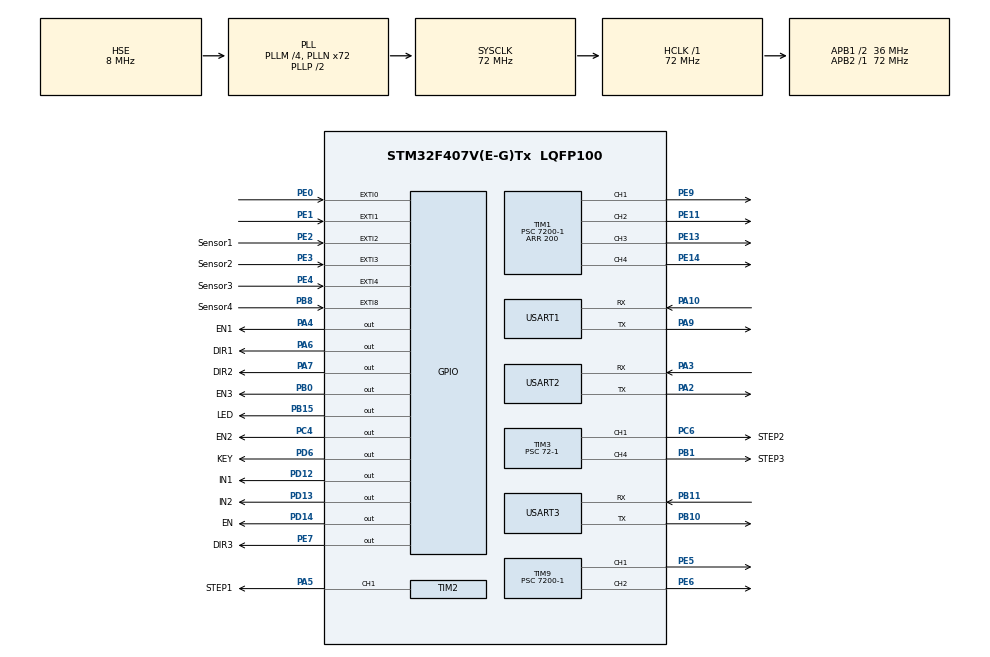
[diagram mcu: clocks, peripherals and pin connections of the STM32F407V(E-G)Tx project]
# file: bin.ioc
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Mcu.Family=STM32F4
Mcu.Name=STM32F407V(E-G)Tx
Mcu.Package=LQFP100
NVIC.EXTI0_IRQn=true\:0\:0\:true\:false\:true\:true\:true
NVIC.EXTI1_IRQn=true\:0\:0\:true\:false\:true\:true\:true
NVIC.EXTI2_IRQn=true\:2\:0\:true\:false\:true\:true\:true
NVIC.EXTI3_IRQn=true\:2\:0\:true\:false\:true\:true\:true
NVIC.EXTI4_IRQn=true\:2\:0\:true\:false\:true\:true\:true
NVIC.EXTI9_5_IRQn=true\:2\:0\:true\:false\:true\:true\:true
NVIC.PriorityGroup=NVIC_PRIORITYGROUP_4
NVIC.TIM1_BRK_TIM9_IRQn=true\:0\:0\:false\:false\:true\:true\:true
NVIC.TIM1_UP_TIM10_IRQn=true\:0\:0\:false\:false\:true\:true\:true
NVIC.USART1_IRQn=true\:0\:0\:true\:false\:true\:true\:true
NVIC.USART2_IRQn=true\:1\:0\:true\:false\:true\:true\:true
NVIC.USART3_IRQn=true\:0\:0\:false\:false\:true\:true\:true
PA10.Mode=Asynchronous
PA10.Signal=USART1_RX
PA13.Mode=Serial_Wire
PA13.Signal=SYS_JTMS-SWDIO
PA14.Mode=Serial_Wire
PA14.Signal=SYS_JTCK-SWCLK
PA2.Mode=Asynchronous
PA2.Signal=USART2_TX
PA3.Mode=Asynchronous
PA3.Signal=USART2_RX
PA4.GPIO_Label=EN1
PA4.GPIO_ModeDefaultOutputPP=GPIO_MODE_OUTPUT_PP
PA4.GPIO_Speed=GPIO_SPEED_FREQ_HIGH
PA4.PinState=GPIO_PIN_RESET
PA4.Signal=GPIO_Output
PA5.GPIO_Label=STEP1
PA5.GPIO_Speed=GPIO_SPEED_FREQ_HIGH
PA5.Signal=S_TIM2_CH1_ETR
PA6.GPIO_Label=DIR1
PA6.GPIO_Speed=GPIO_SPEED_FREQ_HIGH
PA6.Signal=GPIO_Output
PA7.GPIO_Label=DIR2
PA7.GPIO_Speed=GPIO_SPEED_FREQ_HIGH
PA7.Signal=GPIO_Output
PA9.Mode=Asynchronous
PA9.Signal=USART1_TX
PB0.GPIO_Label=EN3
PB0.GPIO_Speed=GPIO_SPEED_FREQ_HIGH
PB0.Signal=GPIO_Output
PB1.GPIO_Label=STEP3
PB1.GPIO_Speed=GPIO_SPEED_FREQ_HIGH
PB1.Signal=S_TIM3_CH4
PB10.Mode=Asynchronous
PB10.Signal=USART3_TX
PB11.Mode=Asynchronous
PB11.Signal=USART3_RX
PB15.GPIO_Label=LED
PB15.GPIO_Speed=GPIO_SPEED_FREQ_HIGH
PB15.PinState=GPIO_PIN_SET
PB15.Signal=GPIO_Output
PB8.GPIO_Label=Sensor4
PB8.GPIO_PuPd=GPIO_PULLDOWN
PB8.Signal=GPXTI8
PC14-OSC32_IN.Mode=LSE-External-Oscillator
PC14-OSC32_IN.Signal=RCC_OSC32_IN
PC15-OSC32_OUT.Mode=LSE-External-Oscillator
PC15-OSC32_OUT.Signal=RCC_OSC32_OUT
PC4.GPIO_Label=EN2
PC4.GPIO_Speed=GPIO_SPEED_FREQ_HIGH
PC4.Signal=GPIO_Output
PC6.GPIO_Label=STEP2
PC6.GPIO_Speed=GPIO_SPEED_FREQ_HIGH
PC6.Signal=S_TIM3_CH1
PD12.GPIO_Label=IN1
PD12.GPIO_Speed=GPIO_SPEED_FREQ_HIGH
PD12.PinState=GPIO_PIN_RESET
PD12.Signal=GPIO_Output
PD13.GPIO_Label=IN2
PD13.GPIO_Speed=GPIO_SPEED_FREQ_HIGH
PD13.PinState=GPIO_PIN_RESET
PD13.Signal=GPIO_Output
PD14.GPIO_Label=EN
PD14.GPIO_Speed=GPIO_SPEED_FREQ_VERY_HIGH
PD14.PinState=GPIO_PIN_RESET
PD14.Signal=GPIO_Output
PD6.GPIO_Label=KEY
PD6.PinState=GPIO_PIN_SET
PD6.Signal=GPIO_Output
PE0.GPIO_ModeDefaultEXTI=GPIO_MODE_IT_FALLING
PE0.GPIO_PuPd=GPIO_PULLDOWN
PE0.Signal=GPXTI0
PE1.GPIO_ModeDefaultEXTI=GPIO_MODE_IT_FALLING
PE1.GPIO_PuPd=GPIO_PULLDOWN
PE1.Signal=GPXTI1
PE11.Signal=S_TIM1_CH2
PE13.Signal=S_TIM1_CH3
PE14.Signal=S_TIM1_CH4
PE2.GPIO_Label=Sensor1
PE2.GPIO_PuPd=GPIO_PULLDOWN
PE2.Signal=GPXTI2
PE3.GPIO_Label=Sensor2
PE3.GPIO_PuPd=GPIO_PULLDOWN
PE3.Signal=GPXTI3
PE4.GPIO_Label=Sensor3
PE4.GPIO_PuPd=GPIO_PULLDOWN
PE4.Signal=GPXTI4
PE5.Signal=S_TIM9_CH1
PE6.Signal=S_TIM9_CH2
PE7.GPIO_Label=DIR3
PE7.GPIO_Speed=GPIO_SPEED_FREQ_HIGH
PE7.Signal=GPIO_Output
PE9.Signal=S_TIM1_CH1
PH0-OSC_IN.Mode=HSE-External-Oscillator
PH0-OSC_IN.Signal=RCC_OSC_IN
PH1-OSC_OUT.Mode=HSE-External-Oscillator
PH1-OSC_OUT.Signal=RCC_OSC_OUT
ProjectManager.HeapSize=0x200
ProjectManager.StackSize=0x400
ProjectManager.TargetToolchain=STM32CubeIDE
RCC.48MHZClocksFreq_Value=36000000
RCC.AHBFreq_Value=72000000
RCC.APB1CLKDivider=RCC_HCLK_DIV2
RCC.APB1Freq_Value=36000000
RCC.APB1TimFreq_Value=72000000
RCC.APB2Freq_Value=72000000
RCC.APB2TimFreq_Value=72000000
RCC.CortexFreq_Value=72000000
RCC.HCLKFreq_Value=72000000
RCC.HSE_VALUE=8000000
RCC.HSI_VALUE=16000000
RCC.PLLM=4
RCC.PLLN=72
RCC.PLLSourceVirtual=RCC_PLLSOURCE_HSE
RCC.SYSCLKFreq_VALUE=72000000
RCC.SYSCLKSource=RCC_SYSCLKSOURCE_PLLCLK
RCC.VCOOutputFreq_Value=144000000
SH.S_TIM1_CH1.0=TIM1_CH1,PWM Generation1 CH1
SH.S_TIM1_CH2.0=TIM1_CH2,PWM Generation2 CH2
SH.S_TIM1_CH3.0=TIM1_CH3,PWM Generation3 CH3
SH.S_TIM1_CH4.0=TIM1_CH4,PWM Generation4 CH4
SH.S_TIM2_CH1_ETR.0=TIM2_CH1,PWM Generation1 CH1
SH.S_TIM3_CH1.0=TIM3_CH1,PWM Generation1 CH1
SH.S_TIM3_CH4.0=TIM3_CH4,PWM Generation4 CH4
SH.S_TIM9_CH1.0=TIM9_CH1,PWM Generation1 CH1
SH.S_TIM9_CH2.0=TIM9_CH2,PWM Generation2 CH2
TIM1.Channel-PWM\ Generation1\ CH1=TIM_CHANNEL_1
TIM1.Channel-PWM\ Generation2\ CH2=TIM_CHANNEL_2
TIM1.Channel-PWM\ Generation3\ CH3=TIM_CHANNEL_3
TIM1.Channel-PWM\ Generation4\ CH4=TIM_CHANNEL_4
TIM1.Period=200
TIM1.Prescaler=7200-1
TIM2.Channel-PWM\ Generation1\ CH1=TIM_CHANNEL_1
TIM2.Period=180-1
TIM2.Prescaler=72-1
TIM3.Channel-PWM\ Generation1\ CH1=TIM_CHANNEL_1
TIM3.Channel-PWM\ Generation4\ CH4=TIM_CHANNEL_4
TIM3.Period=200-1
TIM3.Prescaler=72-1
TIM9.Channel-PWM\ Generation1\ CH1=TIM_CHANNEL_1
TIM9.Channel-PWM\ Generation2\ CH2=TIM_CHANNEL_2
TIM9.Period=200-1
TIM9.Prescaler=7200-1
USART1.VirtualMode=VM_ASYNC
USART2.VirtualMode=VM_ASYNC
USART3.VirtualMode=VM_ASYNC
board=custom

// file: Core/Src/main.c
/* USER CODE BEGIN Header */
/**
  ******************************************************************************
  * @file           : main.c
  * @brief          : Main program body
  ******************************************************************************
  * @attention
  *
  * Copyright (c) 2024 STMicroelectronics.
  * All rights reserved.
  *
  * This software is licensed under terms that can be found in the LICENSE file
  * in the root directory of this software component.
  * If no LICENSE file comes with this software, it is provided AS-IS.
  *
  ******************************************************************************
  */
/* USER CODE END Header */
#include "main.h"
#include "tim.h"
#include "usart.h"
#include "gpio.h"

/* USER CODE BEGIN Includes */
#include "stm32f4xx_hal.h"
#include "stdio.h"
#include "string.h"
#include <stdbool.h>
#include "../../icode/motor/motor.h"
#include "../../icode/tjc_usart/tjc_usart.h"
#include "../../icode/delay/delay.h"
#include "../../icode/rubbish/rubbish.h"
#include "../../icode/infrared/infrared.h"
#include "../../icode/direct_m/direct_m.h"
#include "../../icode/ele/ele.h"
#include "../../icode/ring_buffer/ring_buffer.h"
/* USER CODE END Includes */

/* USER CODE BEGIN PTD */
#define FRAME_LENGTH 7

/* USER CODE END PTD */

/* USER CODE BEGIN PV */
char box[1] = {0};
char rab[1] = {0};
char tr[1] = {'9'};
char str[100];
uint16_t Red[4] = {0};
uint16_t bin[1] = {0};
uint8_t motor1_forward_flag = 1;
uint8_t motor2_forward_flag = 1;
uint8_t motor1_stop_flag = 0;
uint8_t motor2_stop_flag = 0;
int flag = 0;
volatile uint8_t send_flag = 0;
float angle;
// 定义去抖动相关的变量
static volatile uint32_t last_debounce_time = 0;
const uint32_t debounce_delay = 10; // 去抖动延时时间，单位：毫秒
/* USER CODE END PV */

void SystemClock_Config(void);

/* USER CODE BEGIN 0 */

void HAL_GPIO_EXTI_Callback(uint16_t GPIO_Pin) {// 外部中断回调函数
	// 满载检测
//	if (GPIO_Pin == GPIO_PIN_2) {
//	    // 检查初始信号
//	    if (HAL_GPIO_ReadPin(GPIOE, GPIO_PIN_2) == GPIO_PIN_RESET) {
//	        // 延迟 2 秒（可根据需要调整时间）
//	        delay_us(2000000);
//
//	        // 再次确认红外信号
//	        if (HAL_GPIO_ReadPin(GPIOE, GPIO_PIN_2) == GPIO_PIN_RESET) {
//	            Red[0] = 1;               // 设置满载标志
//	            Infrared(1);              // 红外状态有效处理
//	        }
//	    }
//	    // 清除中断标志位
//	    __HAL_GPIO_EXTI_CLEAR_IT(GPIO_PIN_2);
//	} else {
//	    Red[0] = 0;  // 未检测到满载，清除标志
//	}
//
	if (GPIO_Pin == GPIO_PIN_3) {
	    // 检查初始信号
	    if (HAL_GPIO_ReadPin(GPIOE, GPIO_PIN_3) == GPIO_PIN_RESET) {
	        // 延迟 2 秒（可根据需要调整时间）
	        delay_us(2000000);

	        // 再次确认红外信号
	        if (HAL_GPIO_ReadPin(GPIOE, GPIO_PIN_3) == GPIO_PIN_RESET) {
	            Red[1] = 1;               // 设置满载标志
	            Infrared(1);              // 红外状态有效处理
	        }
	    }
	    // 清除中断标志位
	    __HAL_GPIO_EXTI_CLEAR_IT(GPIO_PIN_3);
	} else {
	    Red[1] = 0;  // 未检测到满载，清除标志
	}
//
//	if (GPIO_Pin == GPIO_PIN_4) {
//	    // 检查初始信号
//	    if (HAL_GPIO_ReadPin(GPIOE, GPIO_PIN_4) == GPIO_PIN_RESET) {
//	        // 延迟 2 秒（可根据需要调整时间）
//	        delay_us(2000000);
//
//	        // 再次确认红外信号
//	        if (HAL_GPIO_ReadPin(GPIOE, GPIO_PIN_4) == GPIO_PIN_RESET) {
//	            Red[2] = 1;               // 设置满载标志
//	            Infrared(1);              // 红外状态有效处理
//	        }
//	    }
//	    // 清除中断标志位
//	    __HAL_GPIO_EXTI_CLEAR_IT(GPIO_PIN_4);
//	} else {
//	    Red[2] = 0;  // 未检测到满载，清除标志
//	}
//
//	if (GPIO_Pin == GPIO_PIN_8) {
//	    // 检查初始信号
//	    if (HAL_GPIO_ReadPin(GPIOB, GPIO_PIN_8) == GPIO_PIN_RESET) {
//	        // 延迟 2 秒（可根据需要调整时间）
//	        delay_us(2000000);
//
//	        // 再次确认红外信号
//	        if (HAL_GPIO_ReadPin(GPIOB, GPIO_PIN_8) == GPIO_PIN_RESET) {
//	            Red[3] = 1;               // 设置满载标志
//	            Infrared(1);              // 红外状态有效处理
//	        }
//	    }
//	    // 清除中断标志位
//	    __HAL_GPIO_EXTI_CLEAR_IT(GPIO_PIN_8);
//	} else {
//	    Red[3] = 0;  // 未检测到满载，清除标志
//	}

    // 传送带掉落检测
    if (GPIO_Pin == GPIO_PIN_1) {  // 检测到一级光栅信号
        // 获取当前时间
        uint32_t current_time = HAL_GetTick();

        // 检查是否超过了去抖动延时时间
        if ((current_time - last_debounce_time) >= debounce_delay) {
            // 记录当前时间
            last_debounce_time = current_time;

            // 再次检测引脚状态
            if (HAL_GPIO_ReadPin(GPIOE, GPIO_PIN_1) == GPIO_PIN_RESET) {
                // 执行相应的动作
            	dj1_stop();
            	motor1_forward_flag = 0;
                // 清除中断标志
                __HAL_GPIO_EXTI_CLEAR_IT(GPIO_PIN_1);
            }
        }
    }

    if (GPIO_Pin == GPIO_PIN_0) {  // 检测到二级光栅信号
        // 获取当前时间
        uint32_t current_time = HAL_GetTick();

        // 检查是否超过了去抖动延时时间
        if ((current_time - last_debounce_time) >= debounce_delay) {
            // 记录当前时间
            last_debounce_time = current_time;

            // 再次检测引脚状态
            if (HAL_GPIO_ReadPin(GPIOE, GPIO_PIN_0) == GPIO_PIN_RESET) {
                // 执行相应的动作
            	dj2_stop();
            	dj3_stop();
            	motor2_stop_flag = 1;
            	motor2_forward_flag = 0;
            	motor1_forward_flag = 0;
                send_flag = 1; // 设置发送标志
                // 清除中断标志
                __HAL_GPIO_EXTI_CLEAR_IT(GPIO_PIN_0);
            }
        }
    }
}

// 定义全局缓冲区
RingBuffer rx_buffer;

// 数据校验函数
uint8_t is_valid_data(uint8_t data) {
    return (data == '1' || data == '6' || data == '3' || data == '4' || data == '5' || data == '8');
}

// USART2接收中断回调函数
void HAL_UART_RxCpltCallback(UART_HandleTypeDef *huart) {
    if (huart == &huart2) {
        HAL_UART_Receive_IT(&huart2, (uint8_t*)box, 1);
        uint8_t received_data = box[0];  // 读取接收到的数据
        // 检查数据是否合法
        if (is_valid_data(received_data)) {
            // 将合法数据存入缓冲区
            if (!RingBuffer_Write(&rx_buffer, received_data)) {
                // 缓冲区已满，可以添加错误处理逻辑
                printf("Buffer is full!\n");
            }
        }
    } else if (huart->Instance == TJC_UART_INS) {
        write1ByteToRingBuffer(RxBuffer[0]);
        HAL_UART_Receive_IT(&TJC_UART, RxBuffer, 1);  // 重新使能串口1接收中断
    }
}

// 处理缓冲区数据
void ProcessBufferData(void) {
    uint8_t data;
    while (RingBuffer_Read(&rx_buffer, &data)) {  // 从缓冲区读取数据
        printf("Received data: %c, is_valid: %d\n", data, is_valid_data(data));  // 打印调试信息
        if (is_valid_data(data)) {  // 检查数据是否合法
            switch (data) {  // 根据数据执行舵机控制
                case '1':
                    HAL_UART_Transmit(&huart2, (uint8_t*)tr, 1, 1000);
                    break;
                case '8':
                    rab[0] = box[0];
                    rubbish();
                    break;
                case '4':
                    off();
                    Servo_Control_down(9);
                    delay_us(20000);
                    Servo_Control_up(3);
                    delay_us(500000);
                    Servo_Control_up(45);
                    delay_us(20000);
                    Servo_Control_down(53);
                    delay_us(300000);
                    on();
                	motor1_forward_flag = 1;
                	motor2_forward_flag = 1;
                    rab[0] = box[0];
                    rubbish();
                    break;
                case '6':
                    off();
                    Servo_Control_down(90);
                    delay_us(20000);
                    Servo_Control_up(90);
                    delay_us(500000);
                    Servo_Control_up(45);
                    delay_us(20000);
                    Servo_Control_down(53);
                    delay_us(300000);
                    on();
                	motor1_forward_flag = 1;
                	motor2_forward_flag = 1;
                    rab[0] = box[0];
                    rubbish();
                    break;
                case '5':
                    off();
                    Servo_Control_down(10);
                    delay_us(20000);
                    Servo_Control_up(75);
                    delay_us(500000);
                    Servo_Control_up(45);
                    delay_us(20000);
                    Servo_Control_down(53);
                    delay_us(300000);
                    on();
                	motor1_forward_flag = 1;
                	motor2_forward_flag = 1;
                    rab[0] = box[0];
                    rubbish();
                    break;
                case '3':
                    off();
                    Servo_Control_down(115);
                    delay_us(20000);
                    Servo_Control_up(5);
                    delay_us(500000);
                    Servo_Control_up(45);
                    delay_us(20000);
                    Servo_Control_down(53);
                    delay_us(300000);
                    on();
                	motor1_forward_flag = 1;
                	motor2_forward_flag = 1;
                    rab[0] = box[0];
                    rubbish();
                    break;
                default:
                    break;
            }
        }
    }
}

/* USER CODE END 0 */

int main(void)
{

  /* MCU Configuration--------------------------------------------------------*/

  /* Reset of all peripherals, Initializes the Flash interface and the Systick. */
  HAL_Init();

  /* Configure the system clock */
  SystemClock_Config();

  /* Initialize all configured peripherals */
  MX_GPIO_Init();
  MX_TIM3_Init();
  MX_USART1_UART_Init();
  MX_USART2_UART_Init();
  MX_USART3_UART_Init();
  MX_TIM1_Init();
  MX_TIM9_Init();
  MX_TIM2_Init();
  /* USER CODE BEGIN 2 */
    HAL_UART_Receive_IT(&huart2, (uint8_t*)box, 1);
    HAL_TIM_PWM_Start(&htim3, TIM_CHANNEL_1);
    HAL_TIM_PWM_Start(&htim3, TIM_CHANNEL_4);
    HAL_TIM_PWM_Start(&htim1, TIM_CHANNEL_1);
    HAL_TIM_PWM_Start(&htim1, TIM_CHANNEL_2);
    HAL_TIM_PWM_Start(&htim1, TIM_CHANNEL_3);
    HAL_TIM_PWM_Start(&htim1, TIM_CHANNEL_4);
    HAL_TIM_PWM_Start(&htim9, TIM_CHANNEL_1);
    HAL_TIM_PWM_Start(&htim9, TIM_CHANNEL_2);
    HAL_TIM_PWM_Start(&htim2, TIM_CHANNEL_1);

    initRingBuffer();  // 初始化环形缓冲区
    HAL_UART_Receive_IT(&TJC_UART, RxBuffer, 1);  // 打开串口接收中断

    // 初始化缓冲区
    RingBuffer_Init(&rx_buffer);
    // 启动USART2接收中断
    HAL_UART_Receive_IT(&huart2, (uint8_t*)box, 1);

    //回正
    off();
    Servo_Control_up(45);
    delay_us(20000);
    Servo_Control_down(53);
    delay_us(1000000);
    on();

  /* USER CODE END 2 */

  /* Infinite loop */
  /* USER CODE BEGIN WHILE */
    while (1) {
            // 处理USART2缓冲区数据
            ProcessBufferData();

            if (HAL_GPIO_ReadPin(GPIOD, GPIO_PIN_6) == GPIO_PIN_RESET) { // 按键处理

                if (send_flag) {
                    HAL_UART_Transmit(&huart2, (uint8_t*)tr, 1, 1000);
                    send_flag = 0;
                }

                // 传送带控制
                if (motor1_forward_flag) {
                    dj1();
                }

                if (motor2_forward_flag) {
                	dj2();
                	dj3();
                }

                if (motor2_stop_flag) {
                    dj2_stop();
                    dj3_stop();
                    motor2_stop_flag = 0;
                }

                //满载检测
                full();

                // 推杆压缩控制
                if (flag == 10) {
                    Forward();
                    delay_us(2200000);
                    Stop();
                    delay_us(1000000);
                    Back();
                    delay_us(2200000);
                    Stop();
                    flag = 0;
                }
            }
        }
    /* USER CODE END WHILE */

}

void SystemClock_Config(void)
{
  RCC_OscInitTypeDef RCC_OscInitStruct = {0};
  RCC_ClkInitTypeDef RCC_ClkInitStruct = {0};

  /** Configure the main internal regulator output voltage
  */
  __HAL_RCC_PWR_CLK_ENABLE();
  __HAL_PWR_VOLTAGESCALING_CONFIG(PWR_REGULATOR_VOLTAGE_SCALE1);
  /** Initializes the RCC Oscillators according to the specified parameters
  * in the RCC_OscInitTypeDef structure.
  */
  RCC_OscInitStruct.OscillatorType = RCC_OSCILLATORTYPE_HSE;
  RCC_OscInitStruct.HSEState = RCC_HSE_ON;
  RCC_OscInitStruct.PLL.PLLState = RCC_PLL_ON;
  RCC_OscInitStruct.PLL.PLLSource = RCC_PLLSOURCE_HSE;
  RCC_OscInitStruct.PLL.PLLM = 4;
  RCC_OscInitStruct.PLL.PLLN = 72;
  RCC_OscInitStruct.PLL.PLLP = RCC_PLLP_DIV2;
  RCC_OscInitStruct.PLL.PLLQ = 4;
  if (HAL_RCC_OscConfig(&RCC_OscInitStruct) != HAL_OK)
  {
    Error_Handler();
  }
  /** Initializes the CPU, AHB and APB buses clocks
  */
  RCC_ClkInitStruct.ClockType = RCC_CLOCKTYPE_HCLK|RCC_CLOCKTYPE_SYSCLK
                              |RCC_CLOCKTYPE_PCLK1|RCC_CLOCKTYPE_PCLK2;
  RCC_ClkInitStruct.SYSCLKSource = RCC_SYSCLKSOURCE_PLLCLK;
  RCC_ClkInitStruct.AHBCLKDivider = RCC_SYSCLK_DIV1;
  RCC_ClkInitStruct.APB1CLKDivider = RCC_HCLK_DIV2;
  RCC_ClkInitStruct.APB2CLKDivider = RCC_HCLK_DIV1;

  if (HAL_RCC_ClockConfig(&RCC_ClkInitStruct, FLASH_LATENCY_2) != HAL_OK)
  {
    Error_Handler();
  }
}

void Error_Handler(void)
{
    __disable_irq();
    while (1) {
    }
}
